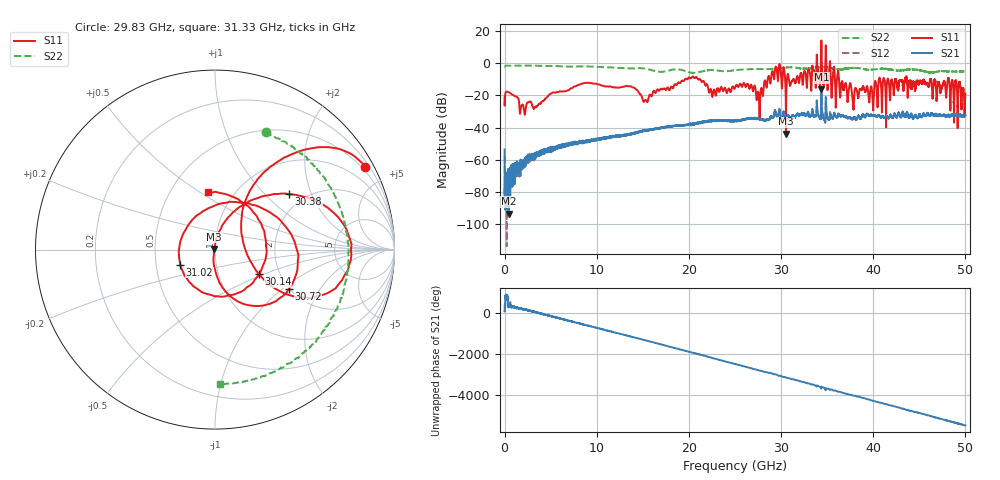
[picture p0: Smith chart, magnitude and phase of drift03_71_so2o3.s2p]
!Created with skrf (http://scikit-rf.org).
# Hz S RI R 50.0
!freq ReS11 ImS11 ReS21 ImS21 ReS12 ImS12 ReS22 ImS22
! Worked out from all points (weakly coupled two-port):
!   10001 points, 300 kHz to 50 GHz, reference 50 ohm
!   highest |S21| = -16.10 dB at 34.37 GHz (marker M1); lowest = -93.6 dB at 425.3 MHz (marker M2)
!   lowest |S11| = -43.8 dB at 30.53 GHz (marker M3), VSWR 1.01, Z = 49.5 + j0.345 ohm
!   |S11| at or under -10 dB: start of sweep to 19.55 GHz; 21.25 GHz to 28.55 GHz (7.295 GHz wide, 29.3 % of centre); 36.29 GHz to 40.61 GHz (4.329 GHz wide, 11.3 % of centre) (the widest 3 of 36)
!   |S22| runs from -5.9 to -1.3 dB; largest |S21 - S12| = 0.026
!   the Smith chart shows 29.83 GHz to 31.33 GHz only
!   S11 on the Smith chart (normalised r, x): 29.83 GHz: 0.35, +3.85; 30.14 GHz: 1.56, -0.46; 30.38 GHz: 1.67, +1.40; 30.72 GHz: 1.97, -1.12; 31.02 GHz: 0.67, -0.12; 31.33 GHz: 0.76, +0.54
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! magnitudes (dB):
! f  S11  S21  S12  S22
! 300 kHz  -21.2  -53.6  -57.6  -2.1
! 425.3 MHz  -18.0  -93.6  -66.3  -1.5
! 3.3 GHz  -27.3  -57.0  -57.3  -1.5
! 8.335 GHz  -12.6  -49.4  -48.8  -1.9
! 15.29 GHz  -22.8  -42.0  -41.9  -3.3
! 16.67 GHz  -16.5  -40.7  -40.5  -5.2
! 20.27 GHz  -9.1  -38.0  -37.6  -5.8
! 22.71 GHz  -16.4  -35.7  -35.6  -4.2
! 25 GHz  -15.3  -35.9  -36.1  -4.3
! 27.53 GHz  -17.8  -34.5  -34.4  -3.5
! 29.83 GHz  -0.4  -29.4  -28.7  -2.9
! 30.14 GHz  -11.1  -33.2  -33.5  -2.8
! 30.38 GHz  -5.8  -32.3  -32.5  -2.6
! 30.53 GHz  -43.8  -34.1  -34.1  -2.5
! 30.72 GHz  -6.6  -32.9  -32.9  -2.4
! 31.02 GHz  -13.5  -34.3  -34.4  -2.4
! 31.33 GHz  -9.8  -32.5  -32.4  -2.5
! 33.34 GHz  -7.6  -31.2  -31.2  -2.9
! 34.37 GHz  14.3  -16.1  -17.2  -2.2
! 37.87 GHz  -28.7  -33.8  -33.9  -2.9
! 41.67 GHz  -11.3  -34.3  -34.2  -3.7
! 50 GHz  -18.9  -32.1  -32.8  -4.9
